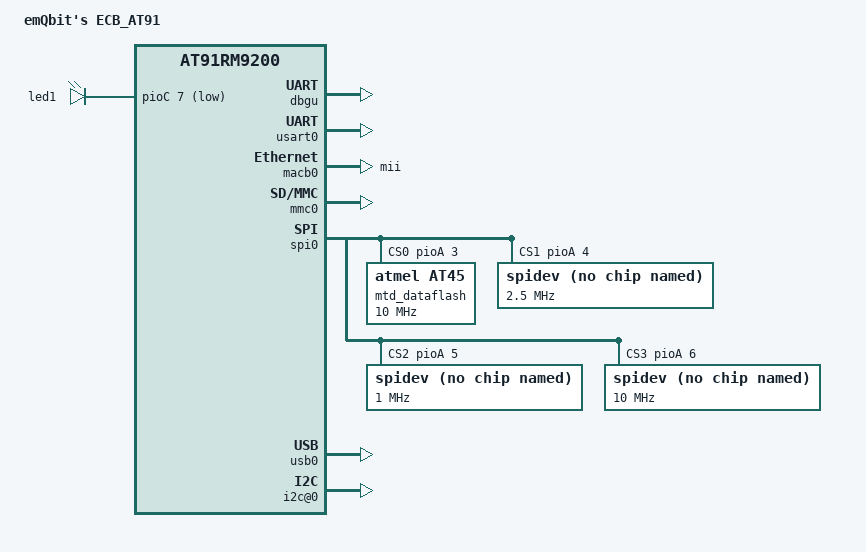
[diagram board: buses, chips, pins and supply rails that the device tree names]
/*
 * at91-ecbat91.dts - Device Tree file for ecbat91 board
 *
 * Copyright (C) 2013 Jean-Christophe PLAGNIOL-VILLARD <plagnioj@jcrosoft.com>
 *
 * Licensed under GPLv2 only
 */
/dts-v1/;
#include "at91rm9200_pqfp.dtsi"

/ {
	model = "emQbit's ECB_AT91";
	compatible = "emqbit,ecb-at91", "atmel,at91rm9200-pqfp", "atmel,at91rm9200";

	clocks {
		#address-cells = <1>;
		#size-cells = <1>;
		ranges;

		main_clock: clock@0 {
			compatible = "atmel,osc", "fixed-clock";
			clock-frequency = <18432000>;
		};
	};

	ahb {
		apb {
			dbgu: serial@fffff200 {
				status = "okay";
			};

			usart0: serial@fffc0000 {
				status = "okay";
			};

			macb0: ethernet@fffbc000 {
				phy-mode = "mii";
				status = "okay";
				/* phy irq on PC4 */
				pinctrl-0 = <&pinctrl_macb_rmii &pinctrl_macb_rmii_mii>;
			};

			mmc0: mmc@fffb4000 {
				pinctrl-0 = <
					&pinctrl_mmc0_clk
					&pinctrl_mmc0_slot0_cmd_dat0
					&pinctrl_mmc0_slot0_dat1_3>;
				status = "okay";
				slot@0 {
					reg = <0>;
					bus-width = <4>;
				};
			};

			spi0: spi@fffe0000 {
				status = "okay";
				cs-gpios =
					<&pioA 3 GPIO_ACTIVE_HIGH>,
					<&pioA 4 GPIO_ACTIVE_HIGH>,
					<&pioA 5 GPIO_ACTIVE_HIGH>,
					<&pioA 6 GPIO_ACTIVE_HIGH>;

				mtd_dataflash@0 {
					compatible = "atmel,at45", "atmel,dataflash";
					spi-max-frequency = <10000000>;
					reg = <0>;
					#address-cells = <1>;
					#size-cells = <1>;

					darrell_loader@0 {
						label = "Darrell-loade";
						reg = <0x00000 0x3180>;
					};

					uboot@3180 {
						label = "U-boot";
						reg = <0x3180 0x1C5C0>;
					};

					ubootenv@1F740 {
						label = "UBoot-env";
						reg = <0x1F740 0x2100>;
					};

					kernel@21840  {
						label = "Kernel";
						reg = <0x21840 0x18B7C0>;
					};

					filesystem@1ad000  {
						label = "Filesystem";
						reg = <0x1ad000 0x53000>;
					};
				};

				spidev@1 {
					compatible = "spidev";
					spi-max-frequency = <2500000>;
					reg = <1>;
				};

				spidev@2 {
					compatible = "spidev";
					spi-max-frequency = <1000000>;
					reg = <2>;
				};

				spidev@3 {
					compatible = "spidev";
					spi-max-frequency = <10000000>;
					reg = <3>;
				};
			};
		};

		usb0: ohci@00300000 {
			num-ports = <1>;
			status = "okay";
		};
	};

	leds {
		compatible = "gpio-leds";

		led1 {
			label = "led1";
			gpios = <&pioC 7 GPIO_ACTIVE_LOW>;
			linux,default-trigger = "heartbeat";
		};
	};

	i2c@0 {
		status = "okay";
	};
};
